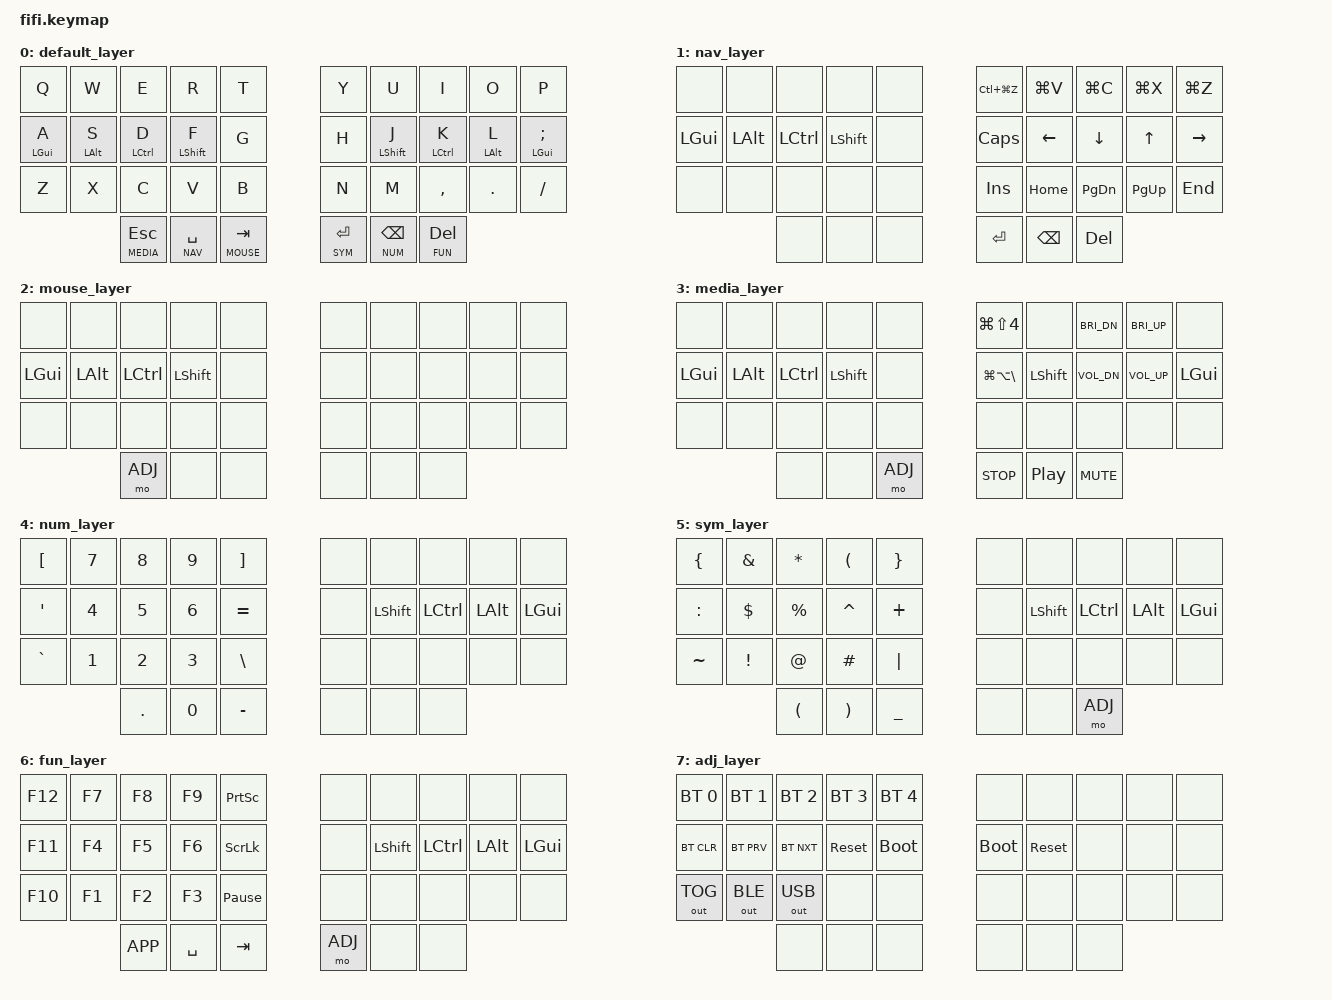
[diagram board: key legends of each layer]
#include <behaviors.dtsi>
#include <dt-bindings/zmk/keys.h>
#include <dt-bindings/zmk/bt.h>
#include <dt-bindings/zmk/outputs.h>

#define BASE 0
#define NAV 1
#define MOUSE 2
#define MEDIA 3
#define NUM 4
#define SYM 5
#define FUN 6
#define ADJ 7

/ {
        behaviors {
                hm: homerow_mods {
                        compatible = "zmk,behavior-hold-tap";
                        label = "HOMEROW_MODS";
                        #binding-cells = <2>;
                        tapping-term-ms = <220>;
                        quick_tap_ms = <0>;
                        flavor = "balanced";
                        bindings = <&kp>, <&kp>;
                };
        };

        combos {
                compatible = "zmk,combos";
                combo_prev {
                    timeout-ms = <50>;
                    key-positions = <7 17>;
                    layers = <NAV>;
                    bindings = <&kp LG(LS(LBRC))>;
                };

                combo_next {
                    timeout-ms = <50>;
                    key-positions = <8 18>;
                    layers = <NAV>;
                    bindings = <&kp LG(LS(RBRC))>;
                };
                
                combo_fat_arrow {
                    timeout-ms = <50>;
                    key-positions = <13 14>;
                    layers = <NUM>;
                    bindings = <&kp EQUAL>, <&kp GT>;
                };
        };

        keymap {
                compatible = "zmk,keymap";

                default_layer {
                        bindings = <
   &kp Q       &kp W       &kp E          &kp R          &kp T             &kp Y        &kp U         &kp I        &kp O       &kp P
   &hm LGUI A  &hm LALT S  &hm LCTRL D    &hm LSHFT F    &kp G             &kp H        &hm LSHFT J   &hm LCTRL K  &hm LALT L  &hm LGUI SEMI
   &kp Z       &kp X       &kp C          &kp V          &kp B             &kp N        &kp M         &kp COMMA    &kp DOT     &kp FSLH
                           &lt MEDIA ESC  &lt NAV SPACE  &lt MOUSE TAB     &lt SYM RET  &lt NUM BSPC  &lt FUN DEL
                        >;
                };

                nav_layer {
                        bindings = <
   &none     &none         &none          &none          &none             &kp LC(LG(Z))  &kp LG(V)   &kp LG(C)    &kp LG(X)   &kp LG(Z)
   &kp LGUI  &kp LALT      &kp LCTRL      &kp LSHFT      &none             &kp CAPS       &kp LEFT    &kp DOWN     &kp UP      &kp RIGHT
   &none     &none         &none          &none          &none             &kp INS        &kp HOME    &kp PG_DN    &kp PG_UP   &kp END
                           &none          &none          &none             &kp RET        &kp BSPC    &kp DEL
                        >;
                };

                mouse_layer {
                        bindings = <
   &none       &none       &none          &none          &none             &none        &none         &none        &none       &none
   &kp LGUI    &kp LALT    &kp LCTRL      &kp LSHFT      &none             &none        &none         &none        &none       &none
   &none       &none       &none          &none          &none             &none        &none         &none        &none       &none
                           &mo ADJ        &none          &none             &none        &none         &none
                        >;
                };

                media_layer {
                        bindings = <
   &none       &none       &none          &none          &none             &kp LG(LS(N4))    &none         &kp C_BRI_DN  &kp C_BRI_UP  &none
   &kp LGUI    &kp LALT    &kp LCTRL      &kp LSHFT      &none             &kp LG(LA(BSLH))  &kp LSHFT     &kp C_VOL_DN  &kp C_VOL_UP  &kp LGUI
   &none       &none       &none          &none          &none             &none             &none         &none         &none         &none
                           &none          &none          &mo ADJ           &kp C_STOP        &kp C_PP      &kp K_MUTE
                        >;
                };

                num_layer {
                        bindings = <
   &kp LBKT    &kp N7      &kp N8         &kp N9         &kp RBKT          &none        &none         &none        &none       &none
   &kp SQT     &kp N4      &kp N5         &kp N6         &kp EQUAL         &none        &kp LSHFT     &kp LCTRL    &kp LALT    &kp LGUI
   &kp GRAVE   &kp N1      &kp N2         &kp N3         &kp BSLH          &none        &none         &none        &none       &none
                           &kp DOT        &kp N0         &kp MINUS         &none        &none         &none
                        >;
                };

                sym_layer {
                        bindings = <
   &kp LBRC    &kp AMPS    &kp STAR       &kp LPAR       &kp RBRC          &none        &none         &none        &none       &none
   &kp COLON   &kp DLLR    &kp PRCNT      &kp CARET      &kp PLUS          &none        &kp LSHFT     &kp LCTRL    &kp LALT    &kp LGUI
   &kp TILDE   &kp EXCL    &kp AT         &kp HASH       &kp PIPE          &none        &none         &none        &none       &none
                           &kp LPAR       &kp RPAR       &kp UNDER         &none        &none         &mo ADJ
                        >;
                };

                fun_layer {
                        bindings = <
   &kp F12     &kp F7      &kp F8         &kp F9         &kp PSCRN         &none        &none         &none        &none       &none
   &kp F11     &kp F4      &kp F5         &kp F6         &kp SLCK          &none        &kp LSHFT     &kp LCTRL    &kp LALT    &kp LGUI
   &kp F10     &kp F1      &kp F2         &kp F3         &kp PAUSE_BREAK   &none        &none         &none        &none       &none
                           &kp K_APP      &kp SPACE      &kp TAB           &mo ADJ      &none         &none
                        >;
                };

                adj_layer {
                        bindings = <
   &bt BT_SEL 0  &bt BT_SEL 1  &bt BT_SEL 2  &bt BT_SEL 3 &bt BT_SEL 4  &none        &none   &none   &none   &none
   &bt BT_CLR    &bt BT_PRV    &bt BT_NXT    &sys_reset       &bootloader   &bootloader  &sys_reset  &none   &none   &none
   &out OUT_TOG  &out OUT_BLE  &out OUT_USB  &none        &none         &none        &none   &none   &none   &none
                               &none         &none        &none         &none        &none   &none
                        >;
                };
        };
};
